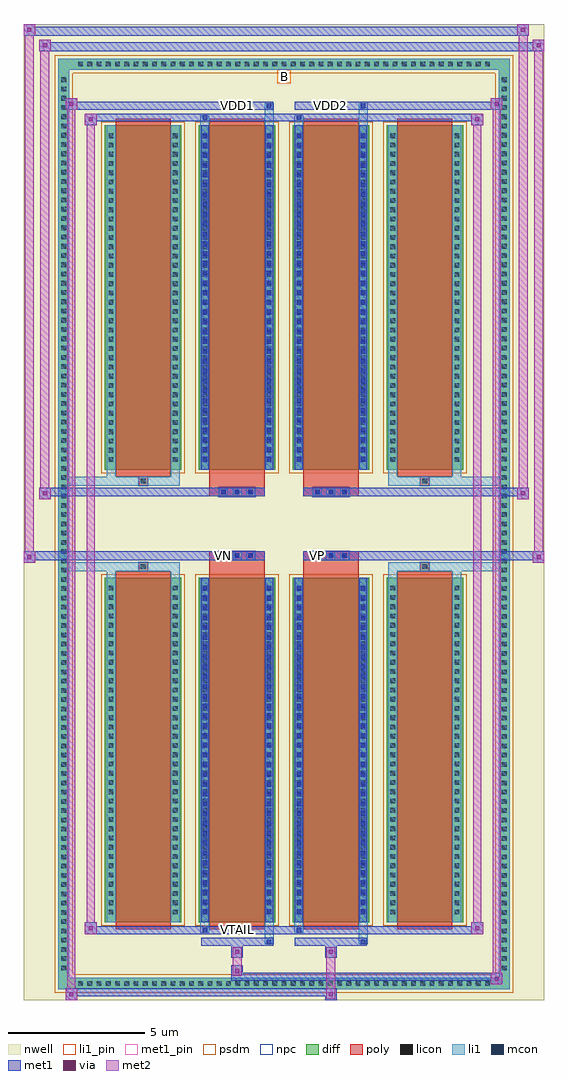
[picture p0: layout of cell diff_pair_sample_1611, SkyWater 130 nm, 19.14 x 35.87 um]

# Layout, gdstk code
import gdstk
lib = gdstk.Library(unit=1e-6, precision=5e-09)
def R(c, l, rs):  # rectangles x0, y0, x1, y1
    for r in rs: c.add(gdstk.rectangle(r[:2], r[2:], *l))
def A(c, l, x, y, w, h, nx, ny, dx, dy):  # array of equal rectangles
    R(c, l, [(x+i*dx, y+j*dy, x+i*dx+w, y+j*dy+h) for i in range(nx) for j in range(ny)])
def P(c, l, *ps):  # polygons
    for p in ps: c.add(gdstk.Polygon(p, *l))
nwell = (64, 20)
diff = (65, 20)
poly = (66, 20)
licon = (66, 44)
li1_pin = (67, 16)
li1 = (67, 20)
mcon = (67, 44)
met1_pin = (68, 16)
met1 = (68, 20)
via = (68, 44)
met2 = (69, 20)
psdm = (94, 20)
npc = (95, 20)

diff_pair_sample_1611 = lib.new_cell('diff_pair_sample_1611')
R(diff_pair_sample_1611, nwell, [(-9.57,-17.5,9.57,18.37), (-6.89,-15.69,-0.01,-0.805), (0.01,-15.69,6.89,-0.805), (-6.89,0.805,-0.01,15.69), (0.01,0.805,6.89,15.69)])
A(diff_pair_sample_1611, diff, -7.685, -17.1, 0.41, 0.41, 45, 2, 0.34, 33.79)
A(diff_pair_sample_1611, diff, -8.3, -16.525, 0.41, 0.41, 1, 97, 0, 0.34)
A(diff_pair_sample_1611, diff, 7.89, -16.525, 0.41, 0.41, 1, 97, 0, 0.34)
A(diff_pair_sample_1611, diff, -6.58, -14.645, 2.81, 12.66, 4, 2, 3.45, 16.63)
R(diff_pair_sample_1611, diff, [(-7.685,-17.1,7.685,-16.69), (-8.3,-16.525,-7.89,16.525), (7.89,-16.525,8.3,16.525), (-7.685,16.69,7.685,17.1)])
P(diff_pair_sample_1611, diff, [(8.3,17.1),(-8.3,17.1),(-8.3,-16.69),(-7.89,-16.69),(-7.89,16.69),(7.89,16.69),(7.89,-16.69),(-7.89,-16.69),(-8.3,-16.69),(-8.3,-17.1),(8.3,-17.1)])
A(diff_pair_sample_1611, poly, -6.19, -14.895, 2.03, 13.16, 4, 2, 3.45, 16.63)
A(diff_pair_sample_1611, poly, -2.39, -1.335, 0.33, 0.33, 3, 2, 0.5, 2.34)
A(diff_pair_sample_1611, poly, 1.06, -1.335, 0.33, 0.33, 3, 2, 0.5, 2.34)
R(diff_pair_sample_1611, poly, [(-5.34,-1.735,-5.01,-1.405), (-5.34,-1.735,-5.01,-1.405), (-2.74,-1.735,-0.71,-1.335), (0.71,-1.735,2.74,-1.335), (5.01,-1.735,5.34,-1.405), (5.01,-1.735,5.34,-1.405), (-2.74,-1.335,-0.71,-1.005), (0.71,-1.335,2.74,-1.005), (-2.74,1.005,-0.71,1.335), (0.71,1.005,2.74,1.335), (-2.74,1.335,-0.71,1.735), (0.71,1.335,2.74,1.735), (-5.34,1.405,-5.01,1.735), (-5.34,1.405,-5.01,1.735), (5.01,1.405,5.34,1.735), (5.01,1.405,5.34,1.735)])
A(diff_pair_sample_1611, licon, -7.565, -16.98, 0.17, 0.17, 45, 2, 0.34, 33.79)
A(diff_pair_sample_1611, licon, -8.18, -16.405, 0.17, 0.17, 1, 97, 0, 0.34)
A(diff_pair_sample_1611, licon, 8.01, -16.405, 0.17, 0.17, 1, 97, 0, 0.34)
A(diff_pair_sample_1611, licon, -6.44, -14.35, 0.17, 0.17, 1, 36, 0, 0.34)
A(diff_pair_sample_1611, licon, -4.08, -14.35, 0.17, 0.17, 1, 36, 0, 0.34)
A(diff_pair_sample_1611, licon, -2.99, -14.35, 0.17, 0.17, 1, 36, 0, 0.34)
A(diff_pair_sample_1611, licon, -0.63, -14.35, 0.17, 0.17, 1, 36, 0, 0.34)
A(diff_pair_sample_1611, licon, 0.46, -14.35, 0.17, 0.17, 1, 36, 0, 0.34)
A(diff_pair_sample_1611, licon, 2.82, -14.35, 0.17, 0.17, 1, 36, 0, 0.34)
A(diff_pair_sample_1611, licon, 3.91, -14.35, 0.17, 0.17, 1, 36, 0, 0.34)
A(diff_pair_sample_1611, licon, 6.27, -14.35, 0.17, 0.17, 1, 36, 0, 0.34)
A(diff_pair_sample_1611, licon, -2.31, -1.255, 0.17, 0.17, 3, 2, 0.5, 2.34)
A(diff_pair_sample_1611, licon, 1.14, -1.255, 0.17, 0.17, 3, 2, 0.5, 2.34)
A(diff_pair_sample_1611, licon, -6.44, 2.28, 0.17, 0.17, 1, 36, 0, 0.34)
A(diff_pair_sample_1611, licon, -4.08, 2.28, 0.17, 0.17, 1, 36, 0, 0.34)
A(diff_pair_sample_1611, licon, -2.99, 2.28, 0.17, 0.17, 1, 36, 0, 0.34)
A(diff_pair_sample_1611, licon, -0.63, 2.28, 0.17, 0.17, 1, 36, 0, 0.34)
A(diff_pair_sample_1611, licon, 0.46, 2.28, 0.17, 0.17, 1, 36, 0, 0.34)
A(diff_pair_sample_1611, licon, 2.82, 2.28, 0.17, 0.17, 1, 36, 0, 0.34)
A(diff_pair_sample_1611, licon, 3.91, 2.28, 0.17, 0.17, 1, 36, 0, 0.34)
A(diff_pair_sample_1611, licon, 6.27, 2.28, 0.17, 0.17, 1, 36, 0, 0.34)
R(diff_pair_sample_1611, licon, [(-5.26,-1.655,-5.09,-1.485), (5.09,-1.655,5.26,-1.485), (-5.26,1.485,-5.09,1.655), (5.09,1.485,5.26,1.655)])
R(diff_pair_sample_1611, li1_pin, [(-0.25,16.19,0.25,16.69)])
A(diff_pair_sample_1611, li1, -7.645, -17.06, 0.33, 0.33, 45, 2, 0.34, 33.79)
A(diff_pair_sample_1611, li1, -8.26, -16.485, 0.33, 0.33, 1, 97, 0, 0.34)
A(diff_pair_sample_1611, li1, 7.93, -16.485, 0.33, 0.33, 1, 97, 0, 0.34)
A(diff_pair_sample_1611, li1, -6.52, -14.43, 0.33, 0.33, 1, 36, 0, 0.34)
A(diff_pair_sample_1611, li1, -4.16, -14.43, 0.33, 0.33, 1, 36, 0, 0.34)
A(diff_pair_sample_1611, li1, -3.07, -14.43, 0.33, 0.33, 1, 36, 0, 0.34)
A(diff_pair_sample_1611, li1, -0.71, -14.43, 0.33, 0.33, 1, 36, 0, 0.34)
A(diff_pair_sample_1611, li1, 0.38, -14.43, 0.33, 0.33, 1, 36, 0, 0.34)
A(diff_pair_sample_1611, li1, 2.74, -14.43, 0.33, 0.33, 1, 36, 0, 0.34)
A(diff_pair_sample_1611, li1, 3.83, -14.43, 0.33, 0.33, 1, 36, 0, 0.34)
A(diff_pair_sample_1611, li1, 6.19, -14.43, 0.33, 0.33, 1, 36, 0, 0.34)
A(diff_pair_sample_1611, li1, -2.99, -14.34, 0.17, 0.17, 1, 34, 0, 0.36)
A(diff_pair_sample_1611, li1, -0.63, -14.34, 0.17, 0.17, 1, 34, 0, 0.36)
A(diff_pair_sample_1611, li1, 0.46, -14.34, 0.17, 0.17, 1, 34, 0, 0.36)
A(diff_pair_sample_1611, li1, 2.82, -14.34, 0.17, 0.17, 1, 34, 0, 0.36)
A(diff_pair_sample_1611, li1, -2.39, -1.335, 0.33, 0.33, 3, 2, 0.5, 2.34)
A(diff_pair_sample_1611, li1, 1.06, -1.335, 0.33, 0.33, 3, 2, 0.5, 2.34)
A(diff_pair_sample_1611, li1, -6.52, 2.2, 0.33, 0.33, 1, 36, 0, 0.34)
A(diff_pair_sample_1611, li1, -4.16, 2.2, 0.33, 0.33, 1, 36, 0, 0.34)
A(diff_pair_sample_1611, li1, -3.07, 2.2, 0.33, 0.33, 1, 36, 0, 0.34)
A(diff_pair_sample_1611, li1, -0.71, 2.2, 0.33, 0.33, 1, 36, 0, 0.34)
A(diff_pair_sample_1611, li1, 0.38, 2.2, 0.33, 0.33, 1, 36, 0, 0.34)
A(diff_pair_sample_1611, li1, 2.74, 2.2, 0.33, 0.33, 1, 36, 0, 0.34)
A(diff_pair_sample_1611, li1, 3.83, 2.2, 0.33, 0.33, 1, 36, 0, 0.34)
A(diff_pair_sample_1611, li1, 6.19, 2.2, 0.33, 0.33, 1, 36, 0, 0.34)
A(diff_pair_sample_1611, li1, -2.99, 2.29, 0.17, 0.17, 1, 34, 0, 0.36)
A(diff_pair_sample_1611, li1, -0.63, 2.29, 0.17, 0.17, 1, 34, 0, 0.36)
A(diff_pair_sample_1611, li1, 0.46, 2.29, 0.17, 0.17, 1, 34, 0, 0.36)
A(diff_pair_sample_1611, li1, 2.82, 2.29, 0.17, 0.17, 1, 34, 0, 0.36)
R(diff_pair_sample_1611, li1, [(-8.3,-17.1,-7.89,-16.69), (-8.3,-17.1,-7.89,-16.69), (-7.89,-17.1,7.89,-16.69), (7.89,-17.1,8.3,-16.69), (7.89,-17.1,8.3,-16.69), (-8.3,-16.69,-7.89,16.69), (7.89,-16.69,8.3,16.69), (-0.71,-15.45,-0.38,-14.645), (-0.63,-15.45,-0.46,-15.28), (2.74,-15.45,3.07,-14.645), (2.82,-15.45,2.99,-15.28), (-3.07,-15.02,-2.74,-14.645), (-2.99,-15.02,-2.82,-14.85), (0.38,-15.02,0.71,-14.645), (0.46,-15.02,0.63,-14.85), (-6.52,-14.645,-6.19,-1.985), (-4.16,-14.645,-3.83,-1.985), (-3.07,-14.645,-2.74,-1.985), (-0.71,-14.645,-0.38,-1.985), (0.38,-14.645,0.71,-1.985), (2.74,-14.645,3.07,-1.985), (3.83,-14.645,4.16,-1.985), (6.19,-14.645,6.52,-1.985), (-2.99,-14.34,-2.82,-2.29), (-0.63,-14.34,-0.46,-2.29), (0.46,-14.34,0.63,-2.29), (2.82,-14.34,2.99,-2.29), (-6.52,-1.985,-6.19,-1.405), (-4.16,-1.985,-3.83,-1.405), (3.83,-1.985,4.16,-1.405), (6.19,-1.985,6.52,-1.405), (-8.3,-1.735,-5.34,-1.405), (-6.52,-1.735,-5.34,-1.405), (-5.34,-1.735,-5.01,-1.405), (-5.01,-1.735,-3.83,-1.405), (3.83,-1.735,5.01,-1.405), (5.01,-1.735,5.34,-1.405), (5.01,-1.735,8.3,-1.405), (5.34,-1.735,6.52,-1.405), (-8.3,1.405,-5.34,1.735), (-6.52,1.405,-5.34,1.735), (-6.52,1.405,-6.19,1.985), (-5.34,1.405,-5.01,1.735), (-5.01,1.405,-3.83,1.735), (-4.16,1.405,-3.83,1.985), (3.83,1.405,5.01,1.735), (3.83,1.405,4.16,1.985), (5.01,1.405,5.34,1.735), (5.01,1.405,8.3,1.735), (5.34,1.405,6.52,1.735), (6.19,1.405,6.52,1.985), (-6.52,1.985,-6.19,14.645), (-4.16,1.985,-3.83,14.645), (-3.07,1.985,-2.74,14.645), (-0.71,1.985,-0.38,14.645), (0.38,1.985,0.71,14.645), (2.74,1.985,3.07,14.645), (3.83,1.985,4.16,14.645), (6.19,1.985,6.52,14.645), (-2.99,2.29,-2.82,14.34), (-0.63,2.29,-0.46,14.34), (0.46,2.29,0.63,14.34), (2.82,2.29,2.99,14.34), (-3.07,14.645,-2.74,15.02), (-0.71,14.645,-0.38,15.45), (0.38,14.645,0.71,15.02), (2.74,14.645,3.07,15.45), (-2.99,14.85,-2.82,15.02), (0.46,14.85,0.63,15.02), (-0.63,15.28,-0.46,15.45), (2.82,15.28,2.99,15.45), (-8.3,16.69,-7.89,17.1), (-8.3,16.69,-7.89,17.1), (-7.89,16.69,7.89,17.1), (7.89,16.69,8.3,17.1), (7.89,16.69,8.3,17.1)])
A(diff_pair_sample_1611, mcon, -2.99, -14.34, 0.17, 0.17, 1, 34, 0, 0.36)
A(diff_pair_sample_1611, mcon, -0.63, -14.34, 0.17, 0.17, 1, 34, 0, 0.36)
A(diff_pair_sample_1611, mcon, 0.46, -14.34, 0.17, 0.17, 1, 34, 0, 0.36)
A(diff_pair_sample_1611, mcon, 2.82, -14.34, 0.17, 0.17, 1, 34, 0, 0.36)
A(diff_pair_sample_1611, mcon, -2.31, -1.255, 0.17, 0.17, 3, 2, 0.5, 2.34)
A(diff_pair_sample_1611, mcon, 1.14, -1.255, 0.17, 0.17, 3, 2, 0.5, 2.34)
A(diff_pair_sample_1611, mcon, -2.99, 2.29, 0.17, 0.17, 1, 34, 0, 0.36)
A(diff_pair_sample_1611, mcon, -0.63, 2.29, 0.17, 0.17, 1, 34, 0, 0.36)
A(diff_pair_sample_1611, mcon, 0.46, 2.29, 0.17, 0.17, 1, 34, 0, 0.36)
A(diff_pair_sample_1611, mcon, 2.82, 2.29, 0.17, 0.17, 1, 34, 0, 0.36)
R(diff_pair_sample_1611, mcon, [(-0.63,-15.45,-0.46,-15.28), (2.82,-15.45,2.99,-15.28), (-2.99,-15.02,-2.82,-14.85), (0.46,-15.02,0.63,-14.85), (-2.99,14.85,-2.82,15.02), (0.46,14.85,0.63,15.02), (-0.63,15.28,-0.46,15.45), (2.82,15.28,2.99,15.45)])
R(diff_pair_sample_1611, met1_pin, [(-1.86,-15.06,-1.59,-14.79), (-2.36,-1.295,-2.09,-1.025), (1.09,-1.295,1.36,-1.025), (-1.86,15.24,-1.59,15.51), (1.59,15.24,1.86,15.51)])
A(diff_pair_sample_1611, met1, -3.05, -14.4, 0.29, 0.29, 1, 34, 0, 0.36)
A(diff_pair_sample_1611, met1, -0.69, -14.4, 0.29, 0.29, 1, 34, 0, 0.36)
A(diff_pair_sample_1611, met1, 0.4, -14.4, 0.29, 0.29, 1, 34, 0, 0.36)
A(diff_pair_sample_1611, met1, 2.76, -14.4, 0.29, 0.29, 1, 34, 0, 0.36)
A(diff_pair_sample_1611, met1, -2.37, -1.315, 0.29, 0.29, 3, 2, 0.5, 2.34)
A(diff_pair_sample_1611, met1, 1.08, -1.315, 0.29, 0.29, 3, 2, 0.5, 2.34)
A(diff_pair_sample_1611, met1, -3.05, 2.23, 0.29, 0.29, 1, 34, 0, 0.36)
A(diff_pair_sample_1611, met1, -0.69, 2.23, 0.29, 0.29, 1, 34, 0, 0.36)
A(diff_pair_sample_1611, met1, 0.4, 2.23, 0.29, 0.29, 1, 34, 0, 0.36)
A(diff_pair_sample_1611, met1, 2.76, 2.23, 0.29, 0.29, 1, 34, 0, 0.36)
R(diff_pair_sample_1611, met1, [(-8.03,-17.5,-7.6,-17.07), (1.51,-17.5,1.94,-17.07), (-8.03,-17.36,1.94,-17.07), (7.6,-16.93,8.03,-16.5), (-1.94,-16.79,8.03,-16.5), (-1.94,-16.65,-1.51,-16.22), (-1.94,-15.94,-1.51,-15.51), (1.51,-15.94,1.94,-15.51), (-3.05,-15.51,-0.4,-15.22), (-0.69,-15.51,-0.4,-15.22), (0.4,-15.51,3.05,-15.22), (2.76,-15.51,3.05,-15.22), (-7.32,-15.08,-6.89,-14.65), (-7.32,-15.08,-3.05,-14.79), (-3.05,-15.08,-2.76,-14.79), (-3.05,-15.08,-0.4,-14.79), (-0.4,-15.08,0.4,-14.79), (0.4,-15.08,0.69,-14.79), (0.4,-15.08,3.05,-14.79), (3.05,-15.08,7.32,-14.79), (6.89,-15.08,7.32,-14.65), (-3.05,-14.645,-2.76,-1.985), (-0.69,-14.645,-0.4,-1.985), (0.4,-14.645,0.69,-1.985), (2.76,-14.645,3.05,-1.985), (-9.57,-1.435,-9.14,-1.005), (9.14,-1.435,9.57,-1.005), (-9.57,-1.335,-0.71,-1.005), (-2.74,-1.335,-0.71,-1.005), (0.71,-1.335,2.74,-1.005), (0.71,-1.335,9.57,-1.005), (-9,0.905,-8.57,1.335), (8.57,0.905,9,1.335), (-9,1.005,-2.74,1.335), (-2.74,1.005,-0.71,1.335), (0.71,1.005,2.74,1.335), (2.74,1.005,9,1.335), (-3.05,1.985,-2.76,14.645), (-0.69,1.985,-0.4,14.645), (0.4,1.985,0.69,14.645), (2.76,1.985,3.05,14.645), (-7.32,14.65,-6.89,15.08), (6.89,14.65,7.32,15.08), (-7.32,14.79,-3.05,15.08), (-3.05,14.79,-2.76,15.08), (-3.05,14.79,-0.4,15.08), (-0.4,14.79,0.4,15.08), (0.4,14.79,0.69,15.08), (0.4,14.79,3.05,15.08), (3.05,14.79,7.32,15.08), (-8.03,15.22,-7.6,15.65), (-8.03,15.22,-3.05,15.51), (-3.05,15.22,-0.4,15.51), (-0.69,15.22,-0.4,15.51), (0.4,15.22,3.05,15.51), (2.76,15.22,3.05,15.51), (3.05,15.22,8.03,15.51), (7.6,15.22,8.03,15.65), (-9,17.37,-8.57,17.8), (-9,17.37,-6.89,17.7), (-6.89,17.37,6.89,17.7), (6.89,17.37,9.57,17.7), (9.14,17.37,9.57,17.8), (-9.57,17.94,-9.14,18.37), (-9.57,17.94,-6.89,18.27), (-6.89,17.94,6.89,18.27), (6.89,17.94,9,18.27), (8.57,17.94,9,18.37)])
R(diff_pair_sample_1611, via, [(-7.89,-17.36,-7.74,-17.21), (1.65,-17.36,1.8,-17.21), (7.74,-16.79,7.89,-16.64), (-1.8,-16.51,-1.65,-16.36), (-1.8,-15.8,-1.65,-15.65), (1.65,-15.8,1.8,-15.65), (-7.18,-14.94,-7.03,-14.79), (7.03,-14.94,7.18,-14.79), (-9.43,-1.295,-9.28,-1.145), (9.28,-1.295,9.43,-1.145), (-8.86,1.045,-8.71,1.195), (8.71,1.045,8.86,1.195), (-7.18,14.79,-7.03,14.94), (7.03,14.79,7.18,14.94), (-7.89,15.36,-7.74,15.51), (7.74,15.36,7.89,15.51), (-8.86,17.51,-8.71,17.66), (9.28,17.51,9.43,17.66), (-9.43,18.08,-9.28,18.23), (8.71,18.08,8.86,18.23)])
R(diff_pair_sample_1611, met2, [(-8.03,-17.5,-7.6,-17.07), (-7.96,-17.5,-7.67,15.65), (-7.67,-17.5,-7.6,-17.07), (-7.98,-17.45,-7.65,-17.12), (1.56,-17.45,1.89,-17.12), (1.56,-17.12,1.89,-15.89), (7.6,-16.93,8.03,-16.5), (7.67,-16.93,7.96,15.65), (7.96,-16.93,8.03,-16.5), (7.65,-16.88,7.98,-16.55), (-1.89,-16.6,-1.56,-16.27), (-1.89,-16.27,-1.56,-15.89), (-1.89,-15.89,-1.56,-15.56), (1.56,-15.89,1.89,-15.56), (-7.32,-15.08,-6.89,-14.65), (-7.25,-15.08,-6.96,15.08), (-6.96,-15.08,-6.89,-14.65), (6.89,-15.08,7.32,-14.65), (6.96,-15.08,7.25,15.08), (7.25,-15.08,7.32,-14.65), (-7.27,-15.03,-6.94,-14.7), (6.94,-15.03,7.27,-14.7), (-9.57,-1.435,-9.14,-1.005), (-9.52,-1.435,-9.19,18.37), (-9.19,-1.435,-9.14,-1.005), (9.14,-1.435,9.57,-1.005), (9.19,-1.435,9.52,17.8), (9.52,-1.435,9.57,-1.005), (-9.52,-1.385,-9.19,-1.055), (9.19,-1.385,9.52,-1.055), (-9,0.905,-8.57,1.335), (-8.95,0.905,-8.62,17.8), (-8.62,0.905,-8.57,1.335), (8.57,0.905,9,1.335), (8.62,0.905,8.95,18.37), (8.95,0.905,9,1.335), (-8.95,0.955,-8.62,1.285), (8.62,0.955,8.95,1.285), (-7.32,14.65,-6.89,15.08), (-6.96,14.65,-6.89,15.08), (6.89,14.65,7.32,15.08), (7.25,14.65,7.32,15.08), (-7.27,14.7,-6.94,15.03), (6.94,14.7,7.27,15.03), (-8.03,15.22,-7.6,15.65), (-7.67,15.22,-7.6,15.65), (7.6,15.22,8.03,15.65), (7.96,15.22,8.03,15.65), (-7.98,15.27,-7.65,15.6), (7.65,15.27,7.98,15.6), (-9,17.37,-8.57,17.8), (-8.62,17.37,-8.57,17.8), (9.14,17.37,9.57,17.8), (9.52,17.37,9.57,17.8), (-8.95,17.42,-8.62,17.75), (9.19,17.42,9.52,17.75), (-9.57,17.94,-9.14,18.37), (-9.19,17.94,-9.14,18.37), (8.57,17.94,9,18.37), (8.95,17.94,9,18.37), (-9.52,17.99,-9.19,18.32), (8.62,17.99,8.95,18.32)])
A(diff_pair_sample_1611, psdm, -6.71, -14.775, 3.07, 12.92, 4, 2, 3.45, 16.63)
P(diff_pair_sample_1611, psdm, [(8.43,17.23),(-8.43,17.23),(-8.43,-16.56),(-7.76,-16.56),(-7.76,16.56),(7.76,16.56),(7.76,-16.56),(-7.76,-16.56),(-8.43,-16.56),(-8.43,-17.23),(8.43,-17.23)])
A(diff_pair_sample_1611, npc, -2.41, -1.355, 0.37, 0.37, 3, 2, 0.5, 2.34)
A(diff_pair_sample_1611, npc, 1.04, -1.355, 0.37, 0.37, 3, 2, 0.5, 2.34)
R(diff_pair_sample_1611, npc, [(-5.36,-1.755,-4.99,-1.385), (4.99,-1.755,5.36,-1.385), (-2.41,-1.355,-1.54,-0.985), (-2.41,-1.355,-1.54,-0.985), (-1.91,-1.355,-1.04,-0.985), (-1.91,-1.355,-1.04,-0.985), (1.04,-1.355,1.91,-0.985), (1.04,-1.355,1.91,-0.985), (1.54,-1.355,2.41,-0.985), (1.54,-1.355,2.41,-0.985), (-2.41,0.985,-1.54,1.355), (-2.41,0.985,-1.54,1.355), (-1.91,0.985,-1.04,1.355), (-1.91,0.985,-1.04,1.355), (1.04,0.985,1.91,1.355), (1.04,0.985,1.91,1.355), (1.54,0.985,2.41,1.355), (1.54,0.985,2.41,1.355), (-5.36,1.385,-4.99,1.755), (4.99,1.385,5.36,1.755)])
diff_pair_sample_1611.add(gdstk.Label('VTAIL', (-1.725,-14.925), layer=68, texttype=5))
diff_pair_sample_1611.add(gdstk.Label('VN', (-2.225,-1.16), layer=68, texttype=5))
diff_pair_sample_1611.add(gdstk.Label('VP', (1.225,-1.16), layer=68, texttype=5))
diff_pair_sample_1611.add(gdstk.Label('B', (0,16.44), layer=67, texttype=5))
diff_pair_sample_1611.add(gdstk.Label('VDD2', (1.725,15.375), layer=68, texttype=5))
diff_pair_sample_1611.add(gdstk.Label('VDD1', (-1.725,15.375), layer=68, texttype=5))

lib.write_gds('diff_pair_sample_1611.gds')
